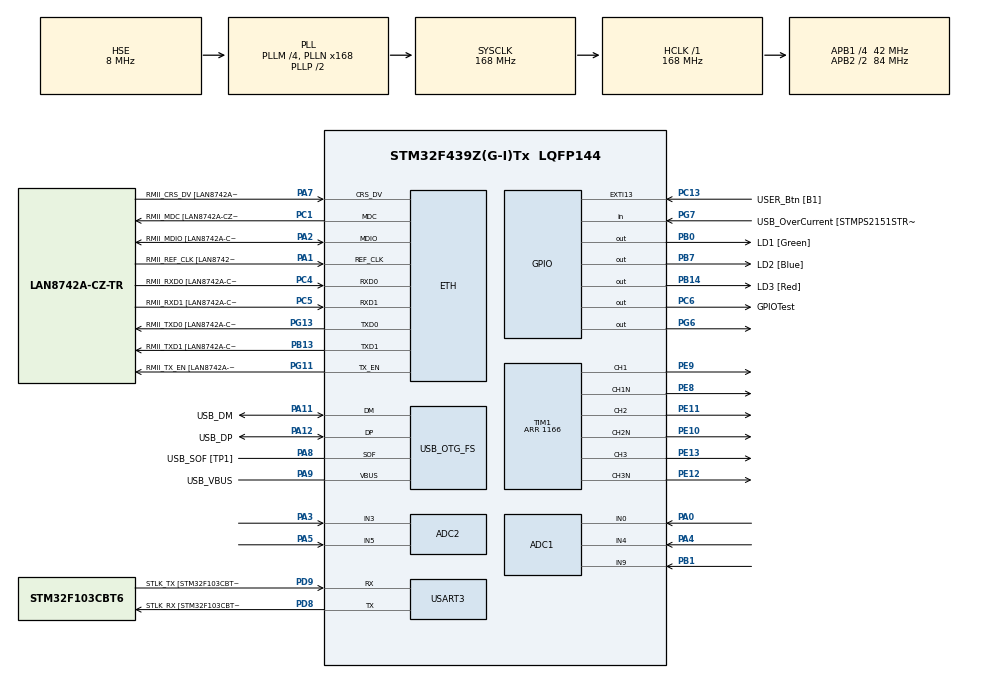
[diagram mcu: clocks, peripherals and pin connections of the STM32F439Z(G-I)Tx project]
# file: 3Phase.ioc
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ADC1.Channel-1\#ChannelRegularConversion=ADC_CHANNEL_0
ADC1.Channel-2\#ChannelRegularConversion=ADC_CHANNEL_4
ADC1.Channel-3\#ChannelRegularConversion=ADC_CHANNEL_9
ADC1.ContinuousConvMode=DISABLE
ADC1.DMAContinuousRequests=ENABLE
ADC1.DataAlign=ADC_DATAALIGN_RIGHT
ADC1.EOCSelection=ADC_EOC_SEQ_CONV
ADC1.ExternalTrigConv=ADC_SOFTWARE_START
ADC1.ExternalTrigConvEdge=ADC_EXTERNALTRIGCONVEDGE_NONE
ADC1.NbrOfConversion=3
ADC1.NbrOfConversionFlag=1
ADC1.Rank-1\#ChannelRegularConversion=1
ADC1.Rank-2\#ChannelRegularConversion=2
ADC1.Rank-3\#ChannelRegularConversion=3
ADC1.SamplingTime-1\#ChannelRegularConversion=ADC_SAMPLETIME_3CYCLES
ADC1.SamplingTime-2\#ChannelRegularConversion=ADC_SAMPLETIME_3CYCLES
ADC1.SamplingTime-3\#ChannelRegularConversion=ADC_SAMPLETIME_3CYCLES
ADC1.ScanConvMode=ENABLE
ADC1.master=1
ADC2.Channel-0\#ChannelRegularConversion=ADC_CHANNEL_3
ADC2.Channel-1\#ChannelRegularConversion=ADC_CHANNEL_5
ADC2.DMAContinuousRequests=ENABLE
ADC2.EOCSelection=ADC_EOC_SEQ_CONV
ADC2.NbrOfConversion=2
ADC2.NbrOfConversionFlag=1
ADC2.Rank-0\#ChannelRegularConversion=1
ADC2.Rank-1\#ChannelRegularConversion=2
ADC2.SamplingTime-0\#ChannelRegularConversion=ADC_SAMPLETIME_3CYCLES
ADC2.SamplingTime-1\#ChannelRegularConversion=ADC_SAMPLETIME_3CYCLES
ADC2.ScanConvMode=ENABLE
Dma.ADC1.0.Direction=DMA_PERIPH_TO_MEMORY
Dma.ADC1.0.FIFOMode=DMA_FIFOMODE_DISABLE
Dma.ADC1.0.Instance=DMA2_Stream0
Dma.ADC1.0.MemDataAlignment=DMA_MDATAALIGN_HALFWORD
Dma.ADC1.0.MemInc=DMA_MINC_ENABLE
Dma.ADC1.0.Mode=DMA_CIRCULAR
Dma.ADC1.0.PeriphDataAlignment=DMA_PDATAALIGN_HALFWORD
Dma.ADC1.0.PeriphInc=DMA_PINC_DISABLE
Dma.ADC1.0.Priority=DMA_PRIORITY_LOW
Dma.ADC2.1.Direction=DMA_PERIPH_TO_MEMORY
Dma.ADC2.1.FIFOMode=DMA_FIFOMODE_DISABLE
Dma.ADC2.1.Instance=DMA2_Stream2
Dma.ADC2.1.MemDataAlignment=DMA_MDATAALIGN_HALFWORD
Dma.ADC2.1.MemInc=DMA_MINC_ENABLE
Dma.ADC2.1.Mode=DMA_CIRCULAR
Dma.ADC2.1.PeriphDataAlignment=DMA_PDATAALIGN_HALFWORD
Dma.ADC2.1.PeriphInc=DMA_PINC_DISABLE
Dma.ADC2.1.Priority=DMA_PRIORITY_LOW
Dma.Request0=ADC1
Dma.Request1=ADC2
ETH.MediaInterface=ETH_MEDIA_INTERFACE_RMII
ETH.PHY_Name=LAN8742A_PHY_ADDRESS
ETH.PHY_Value=0
ETH.PhyAddress=0
Mcu.Family=STM32F4
Mcu.Name=STM32F439Z(G-I)Tx
Mcu.Package=LQFP144
NVIC.ADC_IRQn=true\:0\:0\:false\:false\:true\:true\:true
NVIC.DMA2_Stream0_IRQn=true\:0\:0\:false\:false\:true\:false\:true
NVIC.DMA2_Stream2_IRQn=true\:0\:0\:false\:false\:true\:false\:true
NVIC.PriorityGroup=NVIC_PRIORITYGROUP_4
NVIC.TIM1_UP_TIM10_IRQn=true\:0\:0\:false\:false\:true\:true\:true
PA0/WKUP.Signal=ADCx_IN0
PA1.GPIO_Label=RMII_REF_CLK [LAN8742A-CZ-TR_REFCLK0]
PA1.Mode=RMII
PA1.Signal=ETH_REF_CLK
PA10.GPIO_Label=USB_ID
PA10.Signal=USB_OTG_FS_ID
PA11.GPIO_Label=USB_DM
PA11.Mode=Device_Only
PA11.Signal=USB_OTG_FS_DM
PA12.GPIO_Label=USB_DP
PA12.Mode=Device_Only
PA12.Signal=USB_OTG_FS_DP
PA13.GPIO_Label=TMS
PA13.Mode=Serial_Wire
PA13.Signal=SYS_JTMS-SWDIO
PA14.GPIO_Label=TCK
PA14.Mode=Serial_Wire
PA14.Signal=SYS_JTCK-SWCLK
PA2.GPIO_Label=RMII_MDIO [LAN8742A-CZ-TR_MDIO]
PA2.Mode=RMII
PA2.Signal=ETH_MDIO
PA3.Signal=ADCx_IN3
PA4.Signal=ADCx_IN4
PA5.Signal=ADCx_IN5
PA7.GPIO_Label=RMII_CRS_DV [LAN8742A-CZ-TR_CRS_DV]
PA7.Mode=RMII
PA7.Signal=ETH_CRS_DV
PA8.GPIO_Label=USB_SOF [TP1]
PA8.Mode=Activate_SOF_FS
PA8.Signal=USB_OTG_FS_SOF
PA9.GPIO_Label=USB_VBUS
PA9.Mode=Activate_VBUS
PA9.Signal=USB_OTG_FS_VBUS
PB0.GPIO_Label=LD1 [Green]
PB0.Signal=GPIO_Output
PB1.Signal=ADCx_IN9
PB13.GPIO_Label=RMII_TXD1 [LAN8742A-CZ-TR_TXD1]
PB13.Mode=RMII
PB13.Signal=ETH_TXD1
PB14.GPIO_Label=LD3 [Red]
PB14.Signal=GPIO_Output
PB7.GPIO_Label=LD2 [Blue]
PB7.Signal=GPIO_Output
PC1.GPIO_Label=RMII_MDC [LAN8742A-CZ-TR_MDC]
PC1.Mode=RMII
PC1.Signal=ETH_MDC
PC13.GPIO_Label=USER_Btn [B1]
PC13.Signal=GPXTI13
PC14/OSC32_IN.Mode=LSE-External-Oscillator
PC14/OSC32_IN.Signal=RCC_OSC32_IN
PC15/OSC32_OUT.Mode=LSE-External-Oscillator
PC15/OSC32_OUT.Signal=RCC_OSC32_OUT
PC4.GPIO_Label=RMII_RXD0 [LAN8742A-CZ-TR_RXD0]
PC4.Mode=RMII
PC4.Signal=ETH_RXD0
PC5.GPIO_Label=RMII_RXD1 [LAN8742A-CZ-TR_RXD1]
PC5.Mode=RMII
PC5.Signal=ETH_RXD1
PC6.GPIO_Label=GPIOTest
PC6.PinState=GPIO_PIN_RESET
PC6.Signal=GPIO_Output
PD8.GPIO_Label=STLK_RX [STM32F103CBT6_PA3]
PD8.Mode=Asynchronous
PD8.Signal=USART3_TX
PD9.GPIO_Label=STLK_TX [STM32F103CBT6_PA2]
PD9.Mode=Asynchronous
PD9.Signal=USART3_RX
PE10.Mode=PWM Generation2 CH2 CH2N
PE10.Signal=TIM1_CH2N
PE11.Signal=S_TIM1_CH2
PE12.Mode=PWM Generation3 CH3 CH3N
PE12.Signal=TIM1_CH3N
PE13.Signal=S_TIM1_CH3
PE8.Mode=PWM Generation1 CH1 CH1N
PE8.Signal=TIM1_CH1N
PE9.Signal=S_TIM1_CH1
PG11.GPIO_Label=RMII_TX_EN [LAN8742A-CZ-TR_TXEN]
PG11.Mode=RMII
PG11.Signal=ETH_TX_EN
PG13.GPIO_Label=RMII_TXD0 [LAN8742A-CZ-TR_TXD0]
PG13.Mode=RMII
PG13.Signal=ETH_TXD0
PG6.Signal=GPIO_Output
PG7.GPIO_Label=USB_OverCurrent [STMPS2151STR_FAULT]
PG7.Signal=GPIO_Input
PH0/OSC_IN.GPIO_Label=MCO [STM32F103CBT6_PA8]
PH0/OSC_IN.Mode=HSE-External-Clock-Source
PH0/OSC_IN.Signal=RCC_OSC_IN
PH1/OSC_OUT.Mode=HSE-External-Clock-Source
PH1/OSC_OUT.Signal=RCC_OSC_OUT
ProjectManager.HeapSize=0x200
ProjectManager.StackSize=0x400
ProjectManager.TargetToolchain=STM32CubeIDE
RCC.48MHZClocksFreq_Value=48000000
RCC.AHBFreq_Value=168000000
RCC.APB1CLKDivider=RCC_HCLK_DIV4
RCC.APB1Freq_Value=42000000
RCC.APB1TimFreq_Value=84000000
RCC.APB2CLKDivider=RCC_HCLK_DIV2
RCC.APB2Freq_Value=84000000
RCC.APB2TimCLKDivider=2
RCC.APB2TimFreq_Value=168000000
RCC.CortexFreq_Value=168000000
RCC.HCLKFreq_Value=168000000
RCC.HSE_VALUE=8000000
RCC.HSI_VALUE=16000000
RCC.PLLM=4
RCC.PLLMUL=RCC_PLL_MUL9
RCC.PLLN=168
RCC.PLLQ=7
RCC.PRESCALERUSB=RCC_USBCLKSOURCE_PLL_DIV1_5
RCC.SYSCLKFreq_VALUE=168000000
RCC.SYSCLKSource=RCC_SYSCLKSOURCE_PLLCLK
RCC.SYSCLKSourceVirtual=RCC_SYSCLKSOURCE_PLLCLK
RCC.USBFreq_Value=48000000
RCC.VCOOutputFreq_Value=336000000
SH.ADCx_IN0.0=ADC1_IN0,IN0
SH.ADCx_IN3.0=ADC2_IN3,IN3
SH.ADCx_IN4.0=ADC1_IN4,IN4
SH.ADCx_IN5.0=ADC2_IN5,IN5
SH.ADCx_IN9.0=ADC1_IN9,IN9
SH.S_TIM1_CH1.0=TIM1_CH1,PWM Generation1 CH1 CH1N
SH.S_TIM1_CH2.0=TIM1_CH2,PWM Generation2 CH2 CH2N
SH.S_TIM1_CH3.0=TIM1_CH3,PWM Generation3 CH3 CH3N
TIM1.Channel-PWM\ Generation1\ CH1\ CH1N=TIM_CHANNEL_1
TIM1.Channel-PWM\ Generation2\ CH2\ CH2N=TIM_CHANNEL_2
TIM1.Channel-PWM\ Generation3\ CH3\ CH3N=TIM_CHANNEL_3
TIM1.CounterMode=TIM_COUNTERMODE_CENTERALIGNED1
TIM1.DeadTime=20
TIM1.OCIdleState_1=TIM_OCIDLESTATE_RESET
TIM1.OCIdleState_2=TIM_OCIDLESTATE_RESET
TIM1.OCIdleState_3=TIM_OCIDLESTATE_RESET
TIM1.OCNIdleState_1=TIM_OCNIDLESTATE_RESET
TIM1.OCNIdleState_2=TIM_OCNIDLESTATE_RESET
TIM1.OCNIdleState_3=TIM_OCNIDLESTATE_RESET
TIM1.OCNPolarity_1=TIM_OCNPOLARITY_HIGH
TIM1.OCNPolarity_2=TIM_OCNPOLARITY_HIGH
TIM1.OCNPolarity_3=TIM_OCNPOLARITY_HIGH
TIM1.OCPolarity_1=TIM_OCPOLARITY_HIGH
TIM1.OCPolarity_2=TIM_OCPOLARITY_HIGH
TIM1.OCPolarity_3=TIM_OCPOLARITY_HIGH
TIM1.Period=1166
TIM1.Pulse-PWM\ Generation1\ CH1\ CH1N=1024
TIM1.Pulse-PWM\ Generation2\ CH2\ CH2N=512
TIM1.Pulse-PWM\ Generation3\ CH3\ CH3N=256
TIM1.RepetitionCounter=1
TIM1.TIM_MasterOutputTrigger=TIM_TRGO_RESET
USART3.VirtualMode=VM_ASYNC
USB_OTG_FS.VirtualMode=Device_Only
VP_TIM1_VS_ClockSourceINT.Mode=Internal
board=NUCLEO-F439ZI

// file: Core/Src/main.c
/* USER CODE BEGIN Header */
/**
  ******************************************************************************
  * @file           : main.c
  * @brief          : Main program body
  ******************************************************************************
  * @attention
  *
  * <h2><center>&copy; Copyright (c) 2021 STMicroelectronics.
  * All rights reserved.</center></h2>
  *
  * This software component is licensed by ST under BSD 3-Clause license,
  * the "License"; You may not use this file except in compliance with the
  * License. You may obtain a copy of the License at:
  *                        opensource.org/licenses/BSD-3-Clause
  *
  ******************************************************************************
  */
/* USER CODE END Header */
#include "main.h"

/* USER CODE BEGIN Includes */
#include "systemDefines.h"
#include "pid_controller.h"
#include "math.h"
//#include "FastPID.h"
#include "inverter.h"
/* USER CODE END Includes */

ADC_HandleTypeDef hadc1;
ADC_HandleTypeDef hadc2;
DMA_HandleTypeDef hdma_adc1;
DMA_HandleTypeDef hdma_adc2;

ETH_HandleTypeDef heth;

TIM_HandleTypeDef htim1;

UART_HandleTypeDef huart3;

PCD_HandleTypeDef hpcd_USB_OTG_FS;

/* USER CODE BEGIN PV */
volatile uint16_t AD_RES[3] = {0};
volatile uint16_t AD_RES_2[2] = {0};
volatile uint8_t initDone = 0;
/*
float Kp=5, Ki=0.5*18000, Kd=0.0, Hz=18000;
int output_bits = 16;
bool output_signed = true;

FastPID pid_i(Kp, Ki, Kd, Hz, output_bits, output_signed);

float Kp_v=0.08, Ki_v=0.02*18000, Kd_v=0.0;

FastPID pid_v(Kp_v, Ki_v, Kd_v, Hz, output_bits, output_signed);
*/
volatile PIDControl pid;
volatile PIDControl voltagePid;
/* USER CODE END PV */

void SystemClock_Config(void);
static void MX_GPIO_Init(void);
static void MX_DMA_Init(void);
static void MX_ETH_Init(void);
static void MX_USART3_UART_Init(void);
static void MX_USB_OTG_FS_PCD_Init(void);
static void MX_TIM1_Init(void);
static void MX_ADC1_Init(void);
static void MX_ADC2_Init(void);
/* USER CODE BEGIN PFP */
void HAL_ADC_ConvtCpltCallback (ADC_HandleTypeDef *hadc);
/* USER CODE END PFP */

int main(void)
{

  /* MCU Configuration--------------------------------------------------------*/

  /* Reset of all peripherals, Initializes the Flash interface and the Systick. */
  HAL_Init();

  /* Configure the system clock */
  SystemClock_Config();

  /* Initialize all configured peripherals */
  MX_GPIO_Init();
  MX_DMA_Init();
  MX_ETH_Init();
  MX_USART3_UART_Init();
  MX_USB_OTG_FS_PCD_Init();
  MX_TIM1_Init();
  MX_ADC1_Init();
  MX_ADC2_Init();
  /* USER CODE BEGIN 2 */

  inverterInit();
  /*
  pid_i.setOutputRange(42, PWM_FS - 42);

  if (pid_i.err())
  {

	  for (;;) {};
  }

  pid_v.setOutputRange(0, ADC_MAX);

  if (pid_v.err())
  {

	  for (;;) {};
  }
*/

  //Start Timer1 interrupts
  //HAL_TIM_PWM_Start_IT(&htim1, TIM_CHANNEL_1);
  HAL_TIM_Base_Start_IT(&htim1);
  HAL_TIMEx_OCN_Start(&htim1, TIM_CHANNEL_1);
  HAL_TIMEx_OCN_Start(&htim1, TIM_CHANNEL_2);
  HAL_TIMEx_OCN_Start(&htim1, TIM_CHANNEL_3);

  HAL_TIM_PWM_Start(&htim1, TIM_CHANNEL_1);
  HAL_TIM_PWM_Start(&htim1, TIM_CHANNEL_2);
  HAL_TIM_PWM_Start(&htim1, TIM_CHANNEL_3);

  HAL_ADC_Start_DMA(&hadc1, (uint32_t *)&AD_RES, 3);

  HAL_ADC_Start_DMA(&hadc2, (uint32_t *)&AD_RES_2, 2);
  /*
  SET_BIT(hadc2.Instance->CFGR, ADC_CFGR_DMAEN); //Enable DMA transfer for ADC slave (ADC12_CCR.MDMA = 0b00 -> MDMA mode disabled)
  HAL_DMA_Start(hadc2.DMA_Handle,(uint32_t)&hadc2.Instance->DR, (uint32_t)adcbufS,ADCBUFSIZE); //Start ADC slave DMA

  HAL_ADC_Calibration_Start()

  SET_BIT(hadc1.Instance->CFGR, ADC_CFGR_DMAEN); //Enable DMA transfer for ADC master (ADC12_CCR.MDMA = 0b00 -> MDMA mode disabled)

  HAL_ADCEx_MultiModeStart_DMA(&hadc1,(uint32_t *)adcbufM,ADCBUFSIZE); //Start ADC interleaved mode
*/
  //*********************************************************************************
  // Prototypes
  //*********************************************************************************

  //
  // PID Initialize
  // Description:
  //      Initializes a PIDControl instantiation. This should be called at least once
  //      before any other PID functions are called.
  // Parameters:
  //      pid - The address of a PIDControl instantiation.
  //      kp - Positive P gain constant value.
  //      ki - Positive I gain constant value.
  //      kd - Positive D gain constant value.
  //      sampleTimeSeconds - Interval in seconds on which PIDCompute will be called.
  //      minOutput - Constrain PID output to this minimum value.
  //      maxOutput - Constrain PID output to this maximum value.
  //      mode - Tells how the controller should respond if the user has taken over
  //             manual control or not.
  //             MANUAL:    PID controller is off. User can manually control the
  //                        output.
  //             AUTOMATIC: PID controller is on. PID controller controls the output.
  //      controllerDirection - The sense of direction of the controller
  //                            DIRECT:  A positive setpoint gives a positive output.
  //                            REVERSE: A positive setpoint gives a negative output.
  // Returns:
  //      Nothing.
  //
  PIDInit((PIDControl *)&voltagePid, 0.08/*kp*/, 0.02*18000.0/*ki*/, 0.0/18000.0/*kd*/,
		  1.0/18000.0/*sampleTimeSeconds*/,
		  -1.0/*minOutput*/, 1.0/*maxOutput*/,
		  AUTOMATIC /*mode*/, DIRECT /*controllerDirection*/);

  PIDInit((PIDControl *)&pid, 5.0/*kp*/, 0.5*18000.0/*ki*/, 0.0 / 18000.0/*kd*/,
		  1.0/18000.0/*sampleTimeSeconds*/,
		  -1.0/*minOutput*/, 1.0/*maxOutput*/,
		  AUTOMATIC /*mode*/, DIRECT /*controllerDirection*/);

  initDone = 1;

  /* USER CODE END 2 */

  /* Infinite loop */
  /* USER CODE BEGIN WHILE */
  while (1)
  {
//	  HAL_GPIO_WritePin(GPIOTest_GPIO_Port, GPIOTest_Pin, GPIO_PIN_SET);
	  for(int i = 0; i < 10000; i++) asm("nop");

//	  HAL_GPIO_WritePin(GPIOTest_GPIO_Port, GPIOTest_Pin, GPIO_PIN_RESET);
	  for(int i = 0; i < 10000; i++) asm("nop");

//	  HAL_Delay(1);
//	  HAL_ADC_Start_DMA(&hadc1, (uint32_t*)&AD_RES, 6);

//	  TIM1->CCR1 = AD_RES[0];

    /* USER CODE END WHILE */

  }
}

void SystemClock_Config(void)
{
  RCC_OscInitTypeDef RCC_OscInitStruct = {0};
  RCC_ClkInitTypeDef RCC_ClkInitStruct = {0};

  /** Configure the main internal regulator output voltage
  */
  __HAL_RCC_PWR_CLK_ENABLE();
  __HAL_PWR_VOLTAGESCALING_CONFIG(PWR_REGULATOR_VOLTAGE_SCALE1);
  /** Initializes the RCC Oscillators according to the specified parameters
  * in the RCC_OscInitTypeDef structure.
  */
  RCC_OscInitStruct.OscillatorType = RCC_OSCILLATORTYPE_HSE;
  RCC_OscInitStruct.HSEState = RCC_HSE_BYPASS;
  RCC_OscInitStruct.PLL.PLLState = RCC_PLL_ON;
  RCC_OscInitStruct.PLL.PLLSource = RCC_PLLSOURCE_HSE;
  RCC_OscInitStruct.PLL.PLLM = 4;
  RCC_OscInitStruct.PLL.PLLN = 168;
  RCC_OscInitStruct.PLL.PLLP = RCC_PLLP_DIV2;
  RCC_OscInitStruct.PLL.PLLQ = 7;
  if (HAL_RCC_OscConfig(&RCC_OscInitStruct) != HAL_OK)
  {
    Error_Handler();
  }
  /** Initializes the CPU, AHB and APB buses clocks
  */
  RCC_ClkInitStruct.ClockType = RCC_CLOCKTYPE_HCLK|RCC_CLOCKTYPE_SYSCLK
                              |RCC_CLOCKTYPE_PCLK1|RCC_CLOCKTYPE_PCLK2;
  RCC_ClkInitStruct.SYSCLKSource = RCC_SYSCLKSOURCE_PLLCLK;
  RCC_ClkInitStruct.AHBCLKDivider = RCC_SYSCLK_DIV1;
  RCC_ClkInitStruct.APB1CLKDivider = RCC_HCLK_DIV4;
  RCC_ClkInitStruct.APB2CLKDivider = RCC_HCLK_DIV2;

  if (HAL_RCC_ClockConfig(&RCC_ClkInitStruct, FLASH_LATENCY_5) != HAL_OK)
  {
    Error_Handler();
  }
}

static void MX_ADC1_Init(void)
{

  ADC_ChannelConfTypeDef sConfig = {0};

  /** Configure the global features of the ADC (Clock, Resolution, Data Alignment and number of conversion)
  */
  hadc1.Instance = ADC1;
  hadc1.Init.ClockPrescaler = ADC_CLOCK_SYNC_PCLK_DIV4;
  hadc1.Init.Resolution = ADC_RESOLUTION_12B;
  hadc1.Init.ScanConvMode = ENABLE;
  hadc1.Init.ContinuousConvMode = DISABLE;
  hadc1.Init.DiscontinuousConvMode = DISABLE;
  hadc1.Init.ExternalTrigConvEdge = ADC_EXTERNALTRIGCONVEDGE_NONE;
  hadc1.Init.ExternalTrigConv = ADC_SOFTWARE_START;
  hadc1.Init.DataAlign = ADC_DATAALIGN_RIGHT;
  hadc1.Init.NbrOfConversion = 3;
  hadc1.Init.DMAContinuousRequests = ENABLE;
  hadc1.Init.EOCSelection = ADC_EOC_SEQ_CONV;
  if (HAL_ADC_Init(&hadc1) != HAL_OK)
  {
    Error_Handler();
  }
  /** Configure for the selected ADC regular channel its corresponding rank in the sequencer and its sample time.
  */
  sConfig.Channel = ADC_CHANNEL_0;
  sConfig.Rank = 1;
  sConfig.SamplingTime = ADC_SAMPLETIME_3CYCLES;
  if (HAL_ADC_ConfigChannel(&hadc1, &sConfig) != HAL_OK)
  {
    Error_Handler();
  }
  /** Configure for the selected ADC regular channel its corresponding rank in the sequencer and its sample time.
  */
  sConfig.Channel = ADC_CHANNEL_4;
  sConfig.Rank = 2;
  if (HAL_ADC_ConfigChannel(&hadc1, &sConfig) != HAL_OK)
  {
    Error_Handler();
  }
  /** Configure for the selected ADC regular channel its corresponding rank in the sequencer and its sample time.
  */
  sConfig.Channel = ADC_CHANNEL_9;
  sConfig.Rank = 3;
  if (HAL_ADC_ConfigChannel(&hadc1, &sConfig) != HAL_OK)
  {
    Error_Handler();
  }

}

static void MX_ADC2_Init(void)
{

  ADC_ChannelConfTypeDef sConfig = {0};

  /** Configure the global features of the ADC (Clock, Resolution, Data Alignment and number of conversion)
  */
  hadc2.Instance = ADC2;
  hadc2.Init.ClockPrescaler = ADC_CLOCK_SYNC_PCLK_DIV4;
  hadc2.Init.Resolution = ADC_RESOLUTION_12B;
  hadc2.Init.ScanConvMode = ENABLE;
  hadc2.Init.ContinuousConvMode = DISABLE;
  hadc2.Init.DiscontinuousConvMode = DISABLE;
  hadc2.Init.ExternalTrigConvEdge = ADC_EXTERNALTRIGCONVEDGE_NONE;
  hadc2.Init.ExternalTrigConv = ADC_SOFTWARE_START;
  hadc2.Init.DataAlign = ADC_DATAALIGN_RIGHT;
  hadc2.Init.NbrOfConversion = 2;
  hadc2.Init.DMAContinuousRequests = ENABLE;
  hadc2.Init.EOCSelection = ADC_EOC_SEQ_CONV;
  if (HAL_ADC_Init(&hadc2) != HAL_OK)
  {
    Error_Handler();
  }
  /** Configure for the selected ADC regular channel its corresponding rank in the sequencer and its sample time.
  */
  sConfig.Channel = ADC_CHANNEL_3;
  sConfig.Rank = 1;
  sConfig.SamplingTime = ADC_SAMPLETIME_3CYCLES;
  if (HAL_ADC_ConfigChannel(&hadc2, &sConfig) != HAL_OK)
  {
    Error_Handler();
  }
  /** Configure for the selected ADC regular channel its corresponding rank in the sequencer and its sample time.
  */
  sConfig.Channel = ADC_CHANNEL_5;
  sConfig.Rank = 2;
  if (HAL_ADC_ConfigChannel(&hadc2, &sConfig) != HAL_OK)
  {
    Error_Handler();
  }

}

static void MX_ETH_Init(void)
{

  /* USER CODE BEGIN ETH_Init 0 */
	return;
  /* USER CODE END ETH_Init 0 */

  heth.Instance = ETH;
  heth.Init.AutoNegotiation = ETH_AUTONEGOTIATION_ENABLE;
  heth.Init.Speed = ETH_SPEED_100M;
  heth.Init.DuplexMode = ETH_MODE_FULLDUPLEX;
  heth.Init.PhyAddress = LAN8742A_PHY_ADDRESS;
  heth.Init.MACAddr[0] =   0x00;
  heth.Init.MACAddr[1] =   0x80;
  heth.Init.MACAddr[2] =   0xE1;
  heth.Init.MACAddr[3] =   0x00;
  heth.Init.MACAddr[4] =   0x00;
  heth.Init.MACAddr[5] =   0x00;
  heth.Init.RxMode = ETH_RXPOLLING_MODE;
  heth.Init.ChecksumMode = ETH_CHECKSUM_BY_HARDWARE;
  heth.Init.MediaInterface = ETH_MEDIA_INTERFACE_RMII;

  if (HAL_ETH_Init(&heth) != HAL_OK)
  {
    Error_Handler();
  }

}

static void MX_TIM1_Init(void)
{

  TIM_ClockConfigTypeDef sClockSourceConfig = {0};
  TIM_MasterConfigTypeDef sMasterConfig = {0};
  TIM_OC_InitTypeDef sConfigOC = {0};
  TIM_BreakDeadTimeConfigTypeDef sBreakDeadTimeConfig = {0};

  htim1.Instance = TIM1;
  htim1.Init.Prescaler = 0;
  htim1.Init.CounterMode = TIM_COUNTERMODE_CENTERALIGNED1;
  htim1.Init.Period = 1166;
  htim1.Init.ClockDivision = TIM_CLOCKDIVISION_DIV1;
  htim1.Init.RepetitionCounter = 1;
  htim1.Init.AutoReloadPreload = TIM_AUTORELOAD_PRELOAD_DISABLE;
  if (HAL_TIM_Base_Init(&htim1) != HAL_OK)
  {
    Error_Handler();
  }
  sClockSourceConfig.ClockSource = TIM_CLOCKSOURCE_INTERNAL;
  if (HAL_TIM_ConfigClockSource(&htim1, &sClockSourceConfig) != HAL_OK)
  {
    Error_Handler();
  }
  if (HAL_TIM_PWM_Init(&htim1) != HAL_OK)
  {
    Error_Handler();
  }
  sMasterConfig.MasterOutputTrigger = TIM_TRGO_RESET;
  sMasterConfig.MasterSlaveMode = TIM_MASTERSLAVEMODE_DISABLE;
  if (HAL_TIMEx_MasterConfigSynchronization(&htim1, &sMasterConfig) != HAL_OK)
  {
    Error_Handler();
  }
  sConfigOC.OCMode = TIM_OCMODE_PWM1;
  sConfigOC.Pulse = 1024;
  sConfigOC.OCPolarity = TIM_OCPOLARITY_HIGH;
  sConfigOC.OCNPolarity = TIM_OCNPOLARITY_HIGH;
  sConfigOC.OCFastMode = TIM_OCFAST_DISABLE;
  sConfigOC.OCIdleState = TIM_OCIDLESTATE_RESET;
  sConfigOC.OCNIdleState = TIM_OCNIDLESTATE_RESET;
  if (HAL_TIM_PWM_ConfigChannel(&htim1, &sConfigOC, TIM_CHANNEL_1) != HAL_OK)
  {
    Error_Handler();
  }
  sConfigOC.Pulse = 512;
  if (HAL_TIM_PWM_ConfigChannel(&htim1, &sConfigOC, TIM_CHANNEL_2) != HAL_OK)
  {
    Error_Handler();
  }
  sConfigOC.Pulse = 256;
  if (HAL_TIM_PWM_ConfigChannel(&htim1, &sConfigOC, TIM_CHANNEL_3) != HAL_OK)
  {
    Error_Handler();
  }
  sBreakDeadTimeConfig.OffStateRunMode = TIM_OSSR_DISABLE;
  sBreakDeadTimeConfig.OffStateIDLEMode = TIM_OSSI_DISABLE;
  sBreakDeadTimeConfig.LockLevel = TIM_LOCKLEVEL_OFF;
  sBreakDeadTimeConfig.DeadTime = 20;
  sBreakDeadTimeConfig.BreakState = TIM_BREAK_DISABLE;
  sBreakDeadTimeConfig.BreakPolarity = TIM_BREAKPOLARITY_HIGH;
  sBreakDeadTimeConfig.AutomaticOutput = TIM_AUTOMATICOUTPUT_DISABLE;
  if (HAL_TIMEx_ConfigBreakDeadTime(&htim1, &sBreakDeadTimeConfig) != HAL_OK)
  {
    Error_Handler();
  }
  HAL_TIM_MspPostInit(&htim1);

}

static void MX_USART3_UART_Init(void)
{

  huart3.Instance = USART3;
  huart3.Init.BaudRate = 115200;
  huart3.Init.WordLength = UART_WORDLENGTH_8B;
  huart3.Init.StopBits = UART_STOPBITS_1;
  huart3.Init.Parity = UART_PARITY_NONE;
  huart3.Init.Mode = UART_MODE_TX_RX;
  huart3.Init.HwFlowCtl = UART_HWCONTROL_NONE;
  huart3.Init.OverSampling = UART_OVERSAMPLING_16;
  if (HAL_UART_Init(&huart3) != HAL_OK)
  {
    Error_Handler();
  }

}

static void MX_USB_OTG_FS_PCD_Init(void)
{

  hpcd_USB_OTG_FS.Instance = USB_OTG_FS;
  hpcd_USB_OTG_FS.Init.dev_endpoints = 4;
  hpcd_USB_OTG_FS.Init.speed = PCD_SPEED_FULL;
  hpcd_USB_OTG_FS.Init.dma_enable = DISABLE;
  hpcd_USB_OTG_FS.Init.phy_itface = PCD_PHY_EMBEDDED;
  hpcd_USB_OTG_FS.Init.Sof_enable = ENABLE;
  hpcd_USB_OTG_FS.Init.low_power_enable = DISABLE;
  hpcd_USB_OTG_FS.Init.lpm_enable = DISABLE;
  hpcd_USB_OTG_FS.Init.vbus_sensing_enable = ENABLE;
  hpcd_USB_OTG_FS.Init.use_dedicated_ep1 = DISABLE;
  if (HAL_PCD_Init(&hpcd_USB_OTG_FS) != HAL_OK)
  {
    Error_Handler();
  }

}

static void MX_DMA_Init(void)
{

  /* DMA controller clock enable */
  __HAL_RCC_DMA2_CLK_ENABLE();

  /* DMA interrupt init */
  /* DMA2_Stream0_IRQn interrupt configuration */
  HAL_NVIC_SetPriority(DMA2_Stream0_IRQn, 0, 0);
  HAL_NVIC_EnableIRQ(DMA2_Stream0_IRQn);
  /* DMA2_Stream2_IRQn interrupt configuration */
  HAL_NVIC_SetPriority(DMA2_Stream2_IRQn, 0, 0);
  HAL_NVIC_EnableIRQ(DMA2_Stream2_IRQn);

}

static void MX_GPIO_Init(void)
{
  GPIO_InitTypeDef GPIO_InitStruct = {0};

  /* GPIO Ports Clock Enable */
  __HAL_RCC_GPIOC_CLK_ENABLE();
  __HAL_RCC_GPIOH_CLK_ENABLE();
  __HAL_RCC_GPIOA_CLK_ENABLE();
  __HAL_RCC_GPIOB_CLK_ENABLE();
  __HAL_RCC_GPIOE_CLK_ENABLE();
  __HAL_RCC_GPIOD_CLK_ENABLE();
  __HAL_RCC_GPIOG_CLK_ENABLE();

  /*Configure GPIO pin Output Level */
  HAL_GPIO_WritePin(GPIOB, LD1_Pin|LD3_Pin|LD2_Pin, GPIO_PIN_RESET);

  /*Configure GPIO pin Output Level */
  HAL_GPIO_WritePin(GPIOG, GPIO_PIN_6, GPIO_PIN_RESET);

  /*Configure GPIO pin Output Level */
  HAL_GPIO_WritePin(GPIOTest_GPIO_Port, GPIOTest_Pin, GPIO_PIN_RESET);

  /*Configure GPIO pin : USER_Btn_Pin */
  GPIO_InitStruct.Pin = USER_Btn_Pin;
  GPIO_InitStruct.Mode = GPIO_MODE_IT_RISING;
  GPIO_InitStruct.Pull = GPIO_NOPULL;
  HAL_GPIO_Init(USER_Btn_GPIO_Port, &GPIO_InitStruct);

  /*Configure GPIO pins : LD1_Pin LD3_Pin LD2_Pin */
  GPIO_InitStruct.Pin = LD1_Pin|LD3_Pin|LD2_Pin;
  GPIO_InitStruct.Mode = GPIO_MODE_OUTPUT_PP;
  GPIO_InitStruct.Pull = GPIO_NOPULL;
  GPIO_InitStruct.Speed = GPIO_SPEED_FREQ_LOW;
  HAL_GPIO_Init(GPIOB, &GPIO_InitStruct);

  /*Configure GPIO pin : PG6 */
  GPIO_InitStruct.Pin = GPIO_PIN_6;
  GPIO_InitStruct.Mode = GPIO_MODE_OUTPUT_PP;
  GPIO_InitStruct.Pull = GPIO_NOPULL;
  GPIO_InitStruct.Speed = GPIO_SPEED_FREQ_LOW;
  HAL_GPIO_Init(GPIOG, &GPIO_InitStruct);

  /*Configure GPIO pin : USB_OverCurrent_Pin */
  GPIO_InitStruct.Pin = USB_OverCurrent_Pin;
  GPIO_InitStruct.Mode = GPIO_MODE_INPUT;
  GPIO_InitStruct.Pull = GPIO_NOPULL;
  HAL_GPIO_Init(USB_OverCurrent_GPIO_Port, &GPIO_InitStruct);

  /*Configure GPIO pin : GPIOTest_Pin */
  GPIO_InitStruct.Pin = GPIOTest_Pin;
  GPIO_InitStruct.Mode = GPIO_MODE_OUTPUT_PP;
  GPIO_InitStruct.Pull = GPIO_NOPULL;
  GPIO_InitStruct.Speed = GPIO_SPEED_FREQ_LOW;
  HAL_GPIO_Init(GPIOTest_GPIO_Port, &GPIO_InitStruct);

}

/* USER CODE BEGIN 4 */
#define square_wave(x) ((x < M_PI) ? 1.0 : -1.0)
#define VOLTAGE_MODE
#define INTEGER_PID
void HAL_ADC_ConvCpltCallback(ADC_HandleTypeDef* hadc)
{
	static uint32_t b;
//	static float theta, vOut = 8.0, ffGain = 0.0;
//	float setpoint;
//	float iRef;
//	HAL_GPIO_WritePin(GPIOTest_GPIO_Port, GPIOTest_Pin, GPIO_PIN_SET);

	//If this is the callback for ADC2, return
	if(hadc == &hadc2)
		return;
	/*
	uint32_t a = (uint32_t)hadc;

	if(a != b)
	{
		b = a;
	}
	*/
	//7.4us to get to here from ADC conversion start
	//4.7 opt
#ifdef INTEGER_PID
	loop(AD_RES[1], AD_RES[0], AD_RES_2[1], AD_RES_2[0], AD_RES[2]);
	HAL_GPIO_WritePin(GPIOTest_GPIO_Port, GPIOTest_Pin, GPIO_PIN_RESET);
	//12.2us to get to here from ADC conversion start
	//7us opt
/*
	int16_t iref =  (uint16_t)pid_v.step((uint16_t)((8.0*sin(theta)+24.0)*50.0), AD_RES[1]);	//Setpoint scaling: 0 = 0V,  4095 = 83V; 50 = 1V

	TIM1->CCR1 = (uint16_t)pid_i.step(ADC_MAX - iref, AD_RES[0]);	//Fix polarity of Iref
*/
#else

#ifdef VOLTAGE_MODE

	setpoint = (vOut*1.414*sin(theta) + 24) / VSENSE_FS;
	PIDSetpointSet((PIDControl *)&voltagePid, setpoint);
	PIDInputSet((PIDControl *)&voltagePid, (float)AD_RES[1] / ADC_MAX);

	PIDCompute((PIDControl *)&voltagePid);

	iRef = -PIDOutputGet((PIDControl *)&voltagePid);

#else
	iRef = square_wave(theta)*1/(2.0*75.0) + setpoint;
#endif

	PIDSetpointSet((PIDControl *)&pid, iRef);
	PIDInputSet((PIDControl *)&pid, (float)AD_RES[0] / ADC_MAX);

	PIDCompute((PIDControl *)&pid);

	float duty = PIDOutputGet((PIDControl *)&pid) + ffGain*setpoint;

#define DUTY_LIMIT	0.03
	if(duty < DUTY_LIMIT) duty = DUTY_LIMIT;
	else if (duty > 1.0-DUTY_LIMIT) duty = 1.0 - DUTY_LIMIT;

	TIM1->CCR1 = (uint16_t) (duty * 9333.0/2);

#endif

//	TIM1->CCR1 = PWM_FS/2;
//	TIM1->CCR2 = (uint32_t)(AD_RES[5]<<4) * PWM_FS / 65535;
//	TIM1->CCR3 = (uint32_t)(AD_RES[0]<<4) * PWM_FS / 65535;

/*
	theta += 2*M_PI*60.0*2.0*(float)PWM_FS/(float)PWM_CLK;
	if(theta >= 2*M_PI)
		theta -= 2*M_PI;
		*/
}

#define STRICT_HAL
void HAL_TIM_PeriodElapsedCallback(TIM_HandleTypeDef *htim)
{
	HAL_GPIO_WritePin(GPIOTest_GPIO_Port, GPIOTest_Pin, GPIO_PIN_SET);
	if(initDone)
	{
#ifdef STRICT_HAL
		HAL_ADC_Start(&hadc1);
		HAL_ADC_Start(&hadc2);
#else
        //Start conversions for all ADCs
		hadc1.Instance->CR2 |= (uint32_t)ADC_CR2_SWSTART;
		hadc2.Instance->CR2 |= (uint32_t)ADC_CR2_SWSTART;
#endif
	}

//	HAL_GPIO_TogglePin(GPIOTest_GPIO_Port, GPIOTest_Pin);
}

/* USER CODE END 4 */

void Error_Handler(void)
{
  __disable_irq();
  while (1)
  {
  }
}

/************************ (C) COPYRIGHT STMicroelectronics *****END OF FILE****/
